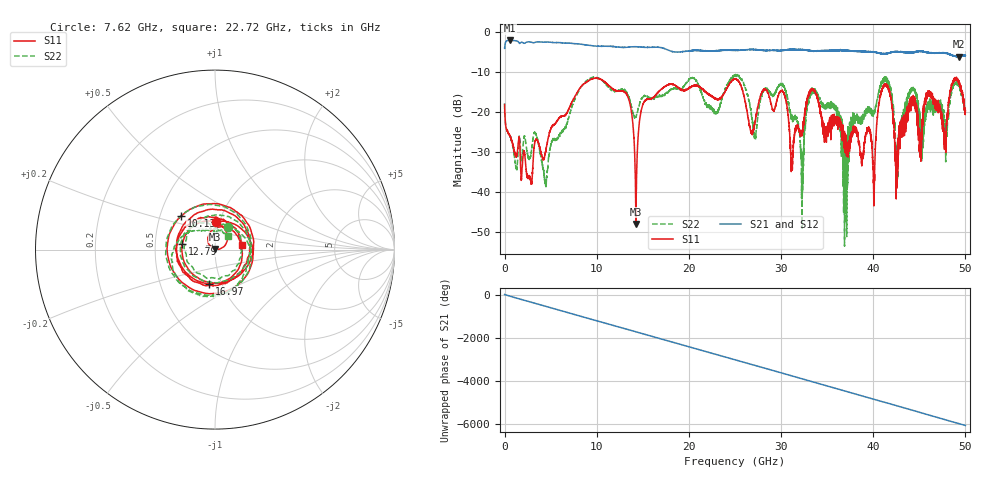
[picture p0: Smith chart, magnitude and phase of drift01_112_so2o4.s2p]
!Created with skrf (http://scikit-rf.org).
# Hz S RI R 50.0
!freq ReS11 ImS11 ReS21 ImS21 ReS12 ImS12 ReS22 ImS22
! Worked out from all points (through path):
!   10001 points, 300 kHz to 50 GHz, reference 50 ohm
!   highest |S21| = -2.00 dB at 570.3 MHz (marker M1); lowest = -6.1 dB at 49.33 GHz (marker M2)
!   group delay of S21, straight-line fit = 336 ps
!   lowest |S11| = -48.0 dB at 14.25 GHz (marker M3), VSWR 1.01, Z = 50.1 + j0.391 ohm
!   |S11| at or under -10 dB: start of sweep to end of sweep
!   |S22| runs from -53.5 to -10.5 dB; largest |S21 - S12| = 0.023
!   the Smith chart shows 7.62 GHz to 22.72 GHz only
!   S11 on the Smith chart (normalised r, x): 7.62 GHz: 0.97, +0.31; 10.13 GHz: 0.64, +0.26; 12.79 GHz: 0.69, +0.05; 16.97 GHz: 0.87, -0.35; 22.72 GHz: 1.35, +0.08
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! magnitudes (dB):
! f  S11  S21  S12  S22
! 300 kHz  -18.1  -3.9  -4.0  -17.8
! 570.3 MHz  -25.9  -2.0  -2.0  -26.0
! 4.445 GHz  -29.9  -2.4  -2.4  -37.7
! 7.62 GHz  -16.1  -2.8  -2.8  -16.8
! 8.335 GHz  -13.5  -3.0  -3.0  -13.5
! 10.13 GHz  -11.5  -3.4  -3.4  -11.4
! 12.79 GHz  -14.7  -3.7  -3.7  -14.3
! 14.25 GHz  -48.0  -3.6  -3.6  -21.2
! 16.67 GHz  -14.9  -3.7  -3.7  -15.8
! 16.97 GHz  -14.3  -3.8  -3.8  -15.6
! 22.72 GHz  -16.3  -4.6  -4.6  -19.7
! 25 GHz  -11.6  -4.5  -4.5  -11.0
! 27.15 GHz  -22.5  -4.2  -4.3  -26.0
! 30.2 GHz  -14.9  -4.5  -4.5  -13.3
! 32.27 GHz  -25.5  -4.4  -4.3  -37.0
! 33.34 GHz  -14.2  -4.6  -4.6  -14.7
! 37 GHz  -26.8  -4.4  -4.6  -31.3
! 40.06 GHz  -40.7  -4.9  -5.0  -20.0
! 41.67 GHz  -14.1  -5.1  -5.1  -12.9
! 42.57 GHz  -36.6  -4.8  -4.8  -31.0
! 49.33 GHz  -12.5  -6.1  -5.9  -13.2
! 50 GHz  -19.6  -5.8  -5.8  -19.8
